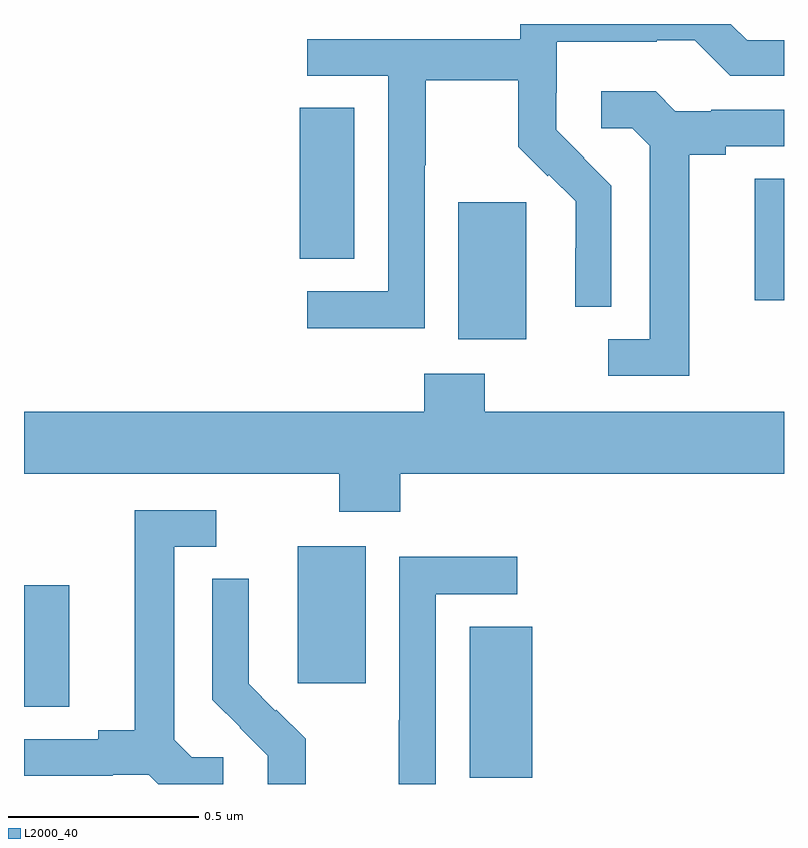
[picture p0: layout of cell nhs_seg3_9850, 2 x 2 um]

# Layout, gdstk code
import gdstk
lib = gdstk.Library(unit=1e-6, precision=1e-09)
def R(c, l, rs):  # rectangles x0, y0, x1, y1
    for r in rs: c.add(gdstk.rectangle(r[:2], r[2:], *l))
def P(c, l, *ps):  # polygons
    for p in ps: c.add(gdstk.Polygon(p, *l))
L2000_40 = (2000, 40)

nhs_seg3_9850 = lib.new_cell('nhs_seg3_9850')
R(nhs_seg3_9850, L2000_40, [(234.173,733.417,234.337,733.814), (233,733.603,233.119,733.923), (233.72,733.665,233.899,734.026), (234.143,734.57,234.322,734.931), (234.923,734.673,235,734.993), (233.726,734.782,233.869,735.179)])
P(nhs_seg3_9850, L2000_40, [(234.054,735.028),(234.057,735.028),(234.057,735.252),(234.301,735.252),(234.301,735.077),(234.378,735),(234.381,735.003),(234.452,734.933),(234.452,734.81),(234.45,734.81),(234.45,734.656),(234.546,734.656),(234.546,734.974),(234.473,735.047),(234.474,735.048),(234.4,735.122),(234.4,735.219),(234.402,735.219),(234.402,735.353),(234.665,735.353),(234.665,735.357),(234.765,735.357),(234.858,735.264),(235,735.264),(235,735.357),(234.903,735.357),(234.86,735.4),(234.306,735.4),(234.306,735.36),(233.745,735.36),(233.745,735.264),(233.958,735.264),(233.958,734.697),(233.745,734.697),(233.745,734.599),(234.054,734.599)],
  [(234.751,735.056),(234.847,735.056),(234.847,735.078),(235,735.078),(235,735.174),(234.808,735.174),(234.808,735.171),(234.714,735.171),(234.662,735.223),(234.519,735.223),(234.519,735.126),(234.6,735.126),(234.647,735.079),(234.647,734.571),(234.537,734.571),(234.537,734.475),(234.751,734.475)],
  [(233.99,734.216),(235,734.216),(235,734.38),(234.213,734.38),(234.213,734.479),(234.053,734.479),(234.053,734.38),(233,734.38),(233,734.216),(233.83,734.216),(233.83,734.117),(233.99,734.117)],
  [(233.524,733.47),(233.442,733.47),(233.395,733.517),(233.395,734.025),(233.506,734.025),(233.506,734.121),(233.291,734.121),(233.291,733.541),(233.195,733.541),(233.195,733.518),(233,733.518),(233,733.422),(233.234,733.422),(233.234,733.425),(233.328,733.425),(233.353,733.4),(233.524,733.4)],
  [(234.084,733.899),(234.298,733.899),(234.298,733.998),(233.988,733.998),(233.988,733.568),(233.986,733.568),(233.986,733.4),(234.084,733.4)],
  [(233.741,733.519),(233.664,733.596),(233.661,733.593),(233.591,733.664),(233.591,733.786),(233.592,733.786),(233.592,733.94),(233.496,733.94),(233.496,733.622),(233.569,733.549),(233.568,733.548),(233.642,733.474),(233.642,733.4),(233.741,733.4)])

lib.write_gds('nhs_seg3_9850.gds')
